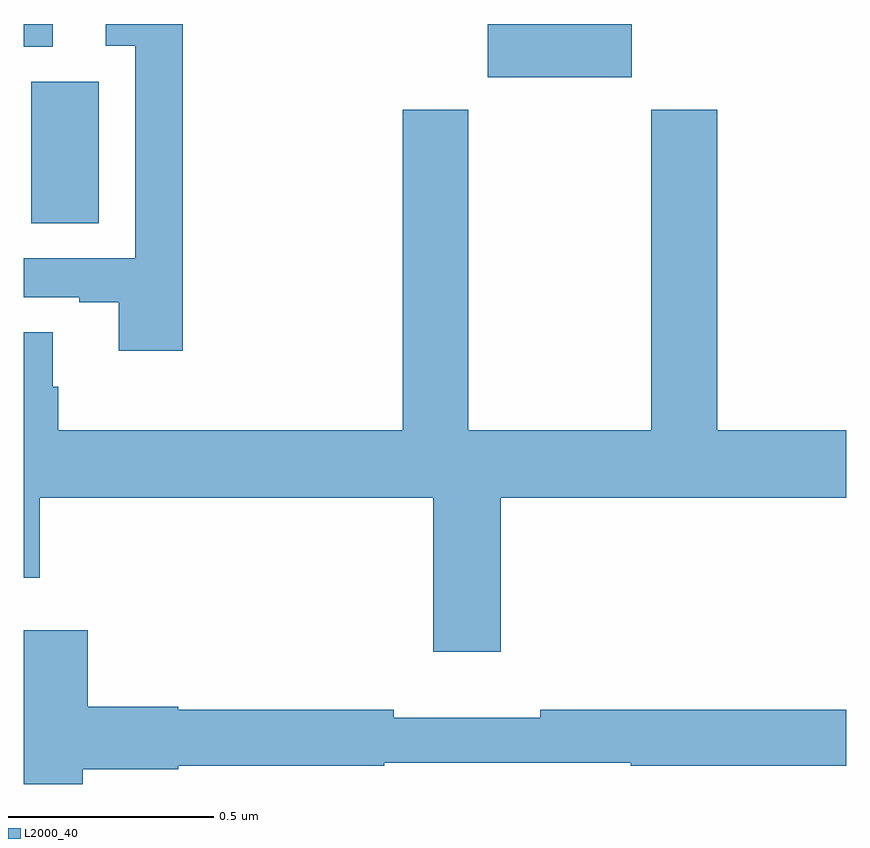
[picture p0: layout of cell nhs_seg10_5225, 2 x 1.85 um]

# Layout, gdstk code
import gdstk
lib = gdstk.Library(unit=1e-6, precision=1e-09)
def R(c, l, rs):  # rectangles x0, y0, x1, y1
    for r in rs: c.add(gdstk.rectangle(r[:2], r[2:], *l))
def P(c, l, *ps):  # polygons
    for p in ps: c.add(gdstk.Polygon(p, *l))
L2000_40 = (2000, 40)

nhs_seg10_5225 = lib.new_cell('nhs_seg10_5225')
R(nhs_seg10_5225, L2000_40, [(176.018,1269.016,176.182,1269.36), (177.128,1269.371,177.478,1269.5), (176,1269.445,176.071,1269.5)])
P(nhs_seg10_5225, L2000_40, [(176.387,1269.5),(176.199,1269.5),(176.199,1269.447),(176.271,1269.447),(176.271,1268.931),(176,1268.931),(176,1268.835),(176.135,1268.835),(176.135,1268.823),(176.231,1268.823),(176.231,1268.706),(176.387,1268.706)],
  [(177.16,1268.348),(178,1268.348),(178,1268.512),(177.686,1268.512),(177.686,1269.292),(177.526,1269.292),(177.526,1268.512),(177.081,1268.512),(177.081,1269.292),(176.921,1269.292),(176.921,1268.512),(176.084,1268.512),(176.084,1268.618),(176.071,1268.618),(176.071,1268.75),(176,1268.75),(176,1268.154),(176.039,1268.154),(176.039,1268.348),(176.996,1268.348),(176.996,1267.974),(177.16,1267.974)],
  [(176.143,1267.688),(176.376,1267.688),(176.376,1267.696),(176.876,1267.696),(176.876,1267.704),(177.476,1267.704),(177.476,1267.696),(178,1267.696),(178,1267.832),(177.256,1267.832),(177.256,1267.813),(176.9,1267.813),(176.9,1267.832),(176.376,1267.832),(176.376,1267.84),(176.156,1267.84),(176.156,1268.026),(176,1268.026),(176,1267.652),(176.143,1267.652)])

lib.write_gds('nhs_seg10_5225.gds')
